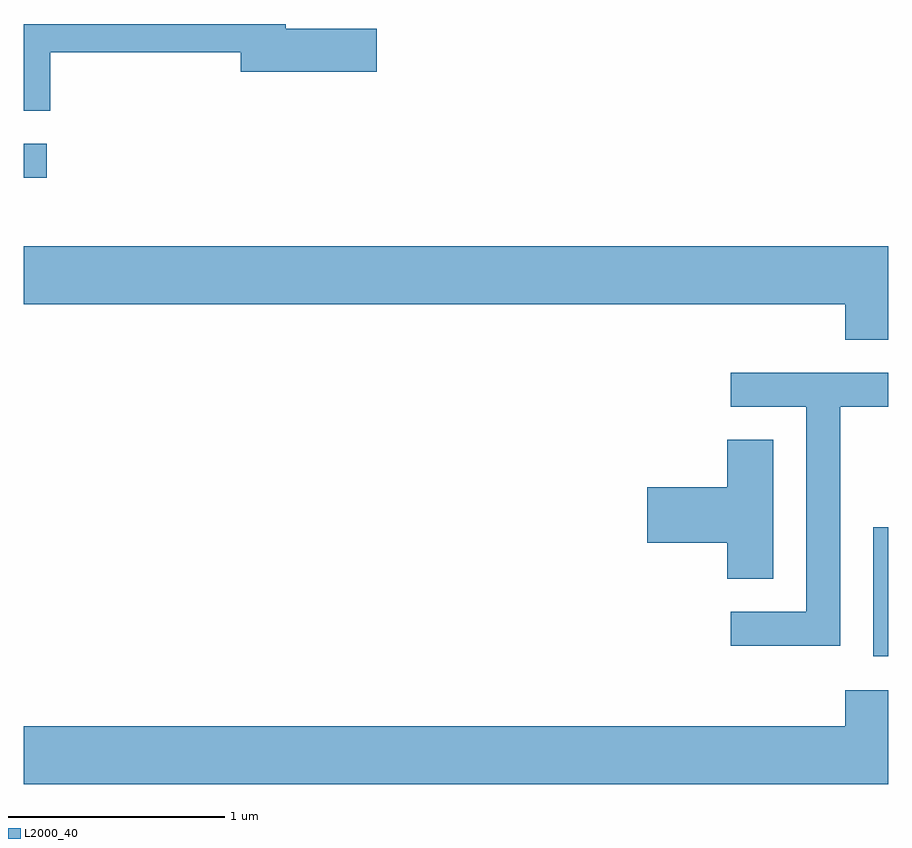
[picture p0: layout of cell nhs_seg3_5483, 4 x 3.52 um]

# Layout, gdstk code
import gdstk
lib = gdstk.Library(unit=1e-6, precision=1e-09)
def R(c, l, rs):  # rectangles x0, y0, x1, y1
    for r in rs: c.add(gdstk.rectangle(r[:2], r[2:], *l))
def P(c, l, *ps):  # polygons
    for p in ps: c.add(gdstk.Polygon(p, *l))
L2000_40 = (2000, 40)

nhs_seg3_5483 = lib.new_cell('nhs_seg3_5483')
R(nhs_seg3_5483, L2000_40, [(349.541,1210.966,349.611,1211.564), (345.611,1213.181,345.718,1213.339)])
P(nhs_seg3_5483, L2000_40, [(345.734,1213.761),(346.616,1213.761),(346.616,1213.671),(347.244,1213.671),(347.244,1213.869),(346.824,1213.869),(346.824,1213.892),(345.611,1213.892),(345.611,1213.491),(345.734,1213.491)],
  [(349.611,1212.864),(345.611,1212.864),(345.611,1212.596),(349.411,1212.596),(349.411,1212.431),(349.611,1212.431)],
  [(349.389,1212.121),(349.611,1212.121),(349.611,1212.279),(348.883,1212.279),(348.883,1212.121),(349.231,1212.121),(349.231,1211.174),(348.883,1211.174),(348.883,1211.016),(349.389,1211.016)],
  [(349.079,1211.969),(348.866,1211.969),(348.866,1211.749),(348.496,1211.749),(348.496,1211.491),(348.866,1211.491),(348.866,1211.326),(349.079,1211.326)],
  [(349.611,1210.809),(349.411,1210.809),(349.411,1210.644),(345.611,1210.644),(345.611,1210.376),(349.611,1210.376)])

lib.write_gds('nhs_seg3_5483.gds')
